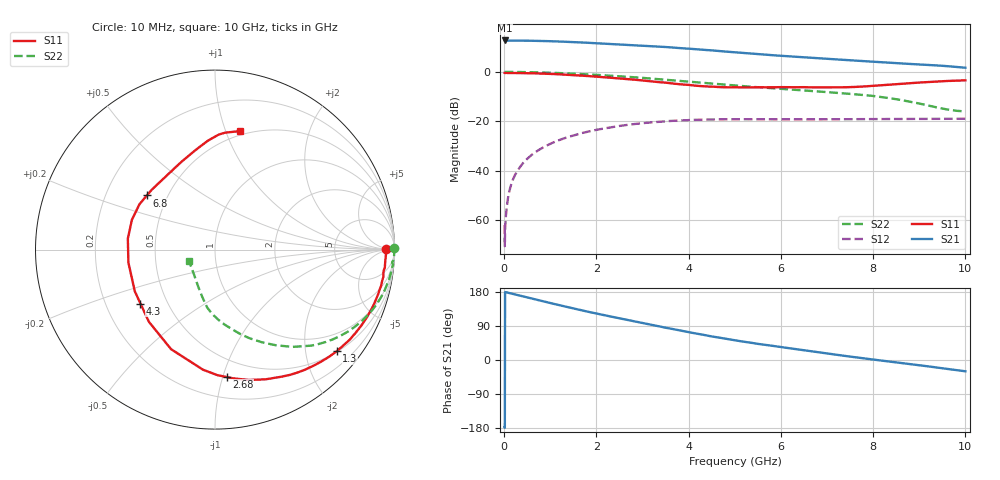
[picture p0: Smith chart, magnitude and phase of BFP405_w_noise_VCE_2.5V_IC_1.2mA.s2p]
! Infineon Technologies  Discrete & RF Semiconductors
! BFP405
! VCE =  2.5 V,  IC =  1.2 mA
! Common Emitter S-Parameters:  Jan 2016
# GHz  S  MA  R  50
!  f  S11  S21  S12  S22
! GHz  MAG  ANG  MAG  ANG  MAG  ANG  MAG  ANG
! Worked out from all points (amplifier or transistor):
!   233 points, 10 MHz to 10 GHz, reference 50 ohm
!   highest |S21| = 12.7 dB at 10 MHz (marker M1)
!   |S21| within 3 dB of that: start of sweep to 3.744 GHz
!   unconditionally stable (mu >= 1): 14.43 MHz to 15.42 MHz; 5.003 GHz to end of sweep
!   at 200 MHz: K = 0.02, MSG = 27.9 dB, |S12| = -43.1 dB
!   at 1.74 GHz: K = 0.23, MSG = 18.2 dB, |S12| = -24.5 dB
!   at 10 GHz: K = 1.92, MAG = 4.8 dB, |S12| = -19.0 dB
!   lowest NFmin = 0.75 dB at 900 MHz
!   S11 on the Smith chart (normalised r, x): 10 MHz: 42, +5; 1.3 GHz: 0.52, -2.67; 2.68 GHz: 0.36, -1.03; 4.3 GHz: 0.35, -0.29; 6.8 GHz: 0.38, +0.30; 10 GHz: 0.46, +1.12
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0.01  0.9542 0.3  4.315 -177.2  0.0008 -48.9  1 0.6
0.015  0.9527 0.0  4.289 -179.0  0.0003 -0.6  0.9976 0.4
0.02  0.9513 -0.3  4.268 179.1  0.0006 83.7  0.9952 0.1
0.025  0.9515 -0.5  4.265 179.1  0.0008 86.2  0.9958 -0.0
0.055  0.9526 -1.8  4.256 178.6  0.0018 90.3  0.9987 -0.6
0.085  0.9519 -2.6  4.276 177.4  0.0029 88.1  0.9988 -1.3
0.185  0.9511 -5.6  4.281 174.6  0.0065 86.9  0.9964 -3.1
0.32  0.9491 -9.7  4.281 170.6  0.0111 85.0  0.9942 -5.2
0.8  0.9257 -24.4  4.219 156.3  0.0281 77.0  0.9735 -13.1
1.3  0.8834 -39.9  4.072 141.8  0.0454 68.0  0.9376 -21.2
1.68  0.8407 -51.9  3.933 131.2  0.0578 60.9  0.9029 -26.9
2.2  0.7754 -68.8  3.715 117.5  0.073 51.6  0.8494 -34.3
2.68  0.713 -84.8  3.511 105.4  0.085 43.2  0.7948 -40.8
3.4  0.6144 -109.9  3.21 87.8  0.0989 30.9  0.7055 -50.0
4  0.5454 -132.5  2.954 73.3  0.1065 21.7  0.6321 -57.5
4.3  0.5126 -144.1  2.801 66.9  0.1082 17.5  0.5984 -60.9
4.5  0.5036 -152.5  2.721 62.2  0.1097 14.8  0.5771 -63.3
5.1  0.4854 -174.6  2.445 50.1  0.1107 7.7  0.5211 -69.7
6  0.4919 160.3  2.116 34.1  0.1098 0.1  0.4537 -77.9
6.8  0.4847 141.5  1.893 20.6  0.1098 -4.8  0.402 -85.5
8.4  0.5553 103.0  1.521 -4.8  0.1115 -13.4  0.29 -102.4
10  0.6745 78.2  1.213 -29.8  0.1128 -19.4  0.1585 -155.5
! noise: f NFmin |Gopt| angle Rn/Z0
0.9  0.75  0.69  15  0.52
1.8  1.17  0.55  31  0.46
2.4  1.43  0.45  42  0.42
3  1.52  0.46  56  0.39
4  1.76  0.33  84  0.29
5  2.09  0.3  121  0.2
